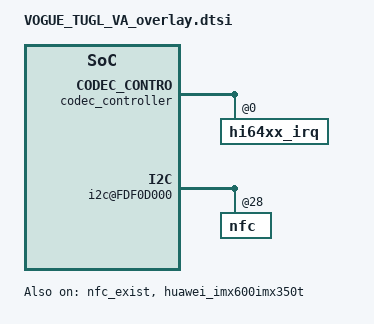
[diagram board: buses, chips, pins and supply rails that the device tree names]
/**
 * Copyright (C) 2014 Hisilicon Ltd.
 *
 *  This program is free software; you can redistribute it and/or modify
 *  it under the terms of the GNU General Public License version 2 as
 *  publishhed by the Free Software Foundation.
 */

/include/ "VOGUE_LX9_VA_overlay.dtsi"

/ {
    board_id = <8500>;
};
    &rootparam{
		compatible = "hisilicon,vendor";
		hisi,boardid = <8 5 0 0>;
		hisi,boardname = "VOGUE_TUGL_VA";
		hisi,modem_id = <0x37050000>;
		hisi,product_id = <0x37050000>;
		hisi,product_name = "VOG-AL00";
	};
	&codec_controller {
		hi64xx_irq@0{
				hi6405_codec@0 {
						hisilicon,wakeup_hisi_algo_support = <1>;
				};
		};
	};
	&amba {
		i2c@FDF0D000 {
				nfc@28{
						clk_status = "pmu_hi6421v700";
				};
		};
    };
	&nfc_exist {
		hisee_exist_flag = "1";
		status = "ok";
	};

    /*hisi customize*/
    &hisi_cust_cfg {
        ini_file_name = "/vendor/etc/cfg_vogue_tugl_va.ini";
    };

	&audio_hw_config {
        product_name = "VOGUE";
		audio_capability {
			/*
				use hisilicon wakeup engine.
				true: use hisilicon wakeup engine.
				false: DO NOT use hisilicon wakeup engine.
			*/
			wakeup_hisiengine = "true";
		};
	};

	&sensorhub{
                sar{
                        sar1{
                               status = "disabled";
                        };
                        sar2{
                                status = "disabled";
                        };
                };
              	rpc{
                       rpc{
                                compatible = "huawei,rpc";
                                file_id = <0x18>;
                                sensor_list_info_id = <24>;
                                sensor_type = "rpc";
                                sensorlist_name = "rpc";
                                mask = <0xFFFF 0x200 0x200 0xFFFF 0xFFFF 0xFFFF 0xFFFF 0xFFFF
                                        0xFFFF 0xFFFF 0xFFFF 0xFFFF 0xFFFF 0xFFFF 0xFFFF 0xFFFF
                                        0xFFFF 0xFFFF 0xFFFF 0xFFFF 0xFFFF 0xFFFF 0xFFFF 0xFFFF
                                        0xFFFF 0xFFFF 0xFFFF 0xFFFF 0xFFFF 0xFFFF 0xFFFF 0xFFFF>;
                                table = <0xFFFF 0x200 0x0 0xFFFF 0xFFFF 0xFFFF 0xFFFF 0xFFFF
                                         0xFFFF 0xFFFF 0xFFFF 0xFFFF 0xFFFF 0xFFFF 0xFFFF 0xFFFF
                                         0xFFFF 0xFFFF 0xFFFF 0xFFFF 0xFFFF 0xFFFF 0xFFFF 0xFFFF
                                         0xFFFF 0xFFFF 0xFFFF 0xFFFF 0xFFFF 0xFFFF 0xFFFF 0xFFFF>;
                                mask_enable = <0x0200>;
								default_value = <0x1D>;
                                status = "ok";
						};
				};
    };

	&rsvmem {
		supersonic {
			status = "ok";
		};
	};

	&huawei_imx600imx350t {
		compatible = "huawei,sensor";
		huawei,sensor_name = "IMX600IMX350T";
		huawei,sensor_index = <0>;
		huawei,is_fpga = <0>;
		huawei,pd_valid = <1>;
		huawei,reset_valid = <1>;
		huawei,vcmpd_valid = <0>;
		huawei,csi_index = <0 2>;
		huawei,i2c_index = <0 2>;
		/*cdphy-csi2*/
		huawei,phyinfo_valid = <2>;
		huawei,is_master_sensor = <1 0>;
		huawei,phy_id = <0 2>;
		huawei,phy_mode = <1 0>;
		huawei,phy_freq_mode = <1 0>;
		huawei,phy_freq = <80000000 80000000>;
		huawei,phy_work_mode = <0 0>;
		clocks = <&clk_gate_rxdphy0_cfg &clk_gate_rxdphy2_cfg &clk_gate_isp_snclk0 &clk_gate_isp_snclk2>;
		clock-names = "clk_rxdphy0_cfg", "clk_rxdphy2_cfg", "clk_isp_snclk0", "clk_isp_snclk2";
		huawei,phyclk = <80000000>;
		phy-clock-num = <2>;
		huawei,mclk = <19200000>;
		dvdd-supply = <&ldo32>;
		iovdd-supply = <&ldo21>;
		dvdd2-supply = <&ldo22>;
		huawei,ldo-names = "dvdd", "iovdd", "dvdd2";

		gpios = <&gpio1 4 0 &gpio6 4 0 &gpio24 5 0 &gpio31 1 0>;
		huawei,gpio-ctrl-types = "reset", "reset2", "vcm_pwdn", "dvdd0-en";

		huawei,cam-power-seq-type = "sensor_pmic", "sensor_pmic", "sensor_pmic", "sensor_pmic",
		"sensor_dvdd", "sensor_vcm_pwdn", "sensor_iovdd", "sensor_dvdd0_en", "sensor_dvdd2",
		"sensor_mclk", "sensor_mclk",
		"sensor_rst", "sensor_rst2";
		huawei,cam-power-seq-cfg-val = <3100000 2800000 2800000 1800000 1100000 0 1800000 0 1100000 0 0 0 0>;
		huawei,cam-power-seq-val = <5 0 1 2 0xFF 0xFF 0xFF 0xFF 0xFF 0xFF 0xFF 0xFF 0xFF>;
		huawei,cam-power-seq-sensor-index = <0xFF 0xFF 0xFF 0xFF 0xFF 0xFF 0xFF 0xFF 0xFF 0 2 0xFF 0xFF>;
		huawei,cam-power-seq-delay = <0 0 0 0 0 1 0 1 1 1 1 1 1>;

		huawei,cam-power-down-seq-type ="sensor_rst2", "sensor_rst", "sensor_mclk", "sensor_mclk",
		"sensor_dvdd2", "sensor_dvdd0_en", "sensor_iovdd", "sensor_vcm_pwdn", "sensor_dvdd",
		"sensor_pmic", "sensor_pmic",
		"sensor_pmic", "sensor_pmic";
		huawei,cam-power-down-seq-cfg-val = <0 0 0 0 1100000 0 1800000 0 1100000 1800000 2800000 2800000 3100000>;
		huawei,cam-power-down-seq-val = <0xFF 0xFF 0xFF 0xFF 0xFF 0xFF 0xFF 0xFF 0xFF 2 1 0 5>;
		huawei,cam-power-down-seq-sensor-index = <0xFF 0xFF 2 0 0xFF 0xFF 0xFF 0xFF 0xFF 0xFF 0xFF 0xFF 0xFF>;
		huawei,cam-power-down-seq-delay = <1 1 1 1 1 1 0 1 0 0 0 0 0>;

		status = "ok";
	};

